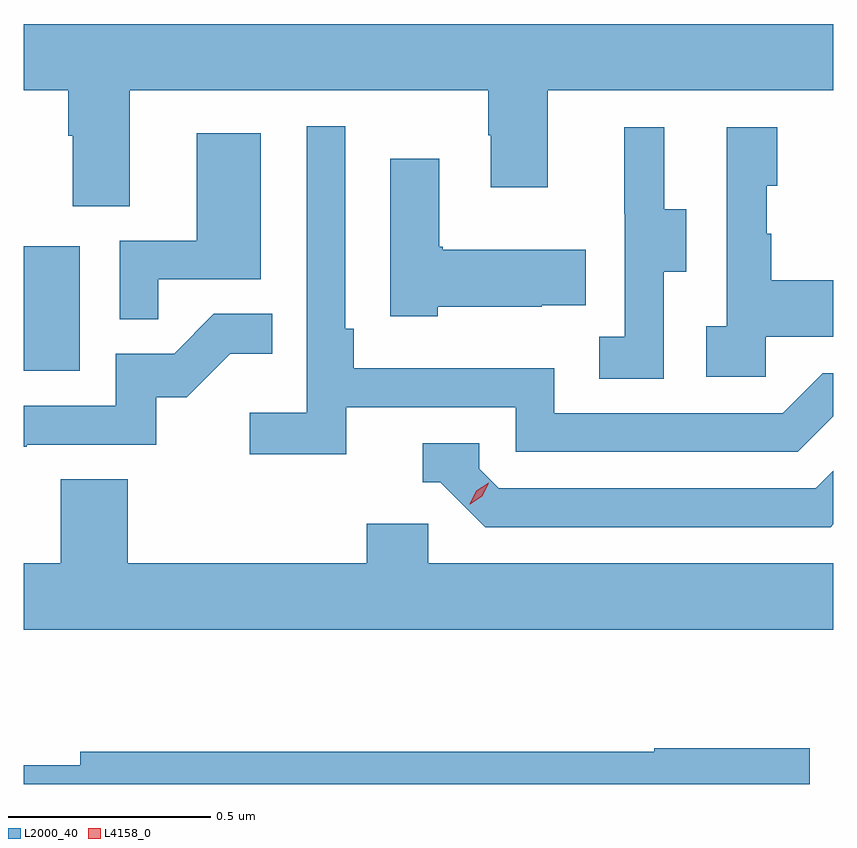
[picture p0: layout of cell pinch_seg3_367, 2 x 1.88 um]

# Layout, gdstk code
import gdstk
lib = gdstk.Library(unit=1e-6, precision=1e-09)
def R(c, l, rs):  # rectangles x0, y0, x1, y1
    for r in rs: c.add(gdstk.rectangle(r[:2], r[2:], *l))
def P(c, l, *ps):  # polygons
    for p in ps: c.add(gdstk.Polygon(p, *l))
L2000_40 = (2000, 40)
L4158_0 = (4158, 0)

pinch_seg3_367 = lib.new_cell('pinch_seg3_367')
R(pinch_seg3_367, L2000_40, [(970.983,706.884,971.122,707.191)])
P(pinch_seg3_367, L2000_40, [(971.245,707.576),(972.13,707.576),(972.13,707.465),(972.137,707.465),(972.137,707.337),(972.277,707.337),(972.277,707.576),(972.983,707.576),(972.983,707.74),(970.983,707.74),(970.983,707.576),(971.093,707.576),(971.093,707.464),(971.105,707.464),(971.105,707.29),(971.245,707.29)],
  [(971.78,706.794),(972.198,706.794),(972.198,706.683),(972.895,706.683),(972.983,706.771),(972.983,706.878),(972.957,706.878),(972.858,706.779),(972.294,706.779),(972.294,706.89),(971.798,706.89),(971.798,706.987),(971.778,706.987),(971.778,707.488),(971.682,707.488),(971.682,706.78),(971.541,706.78),(971.541,706.678),(971.78,706.678)],
  [(972.564,707.128),(972.619,707.128),(972.619,707.283),(972.565,707.283),(972.565,707.485),(972.467,707.485),(972.467,707.271),(972.468,707.271),(972.468,706.967),(972.405,706.967),(972.405,706.864),(972.564,706.864)],
  [(972.816,706.967),(972.983,706.967),(972.983,707.107),(972.829,707.107),(972.829,707.222),(972.819,707.222),(972.819,707.34),(972.844,707.34),(972.844,707.485),(972.72,707.485),(972.72,706.994),(972.669,706.994),(972.669,706.869),(972.816,706.869)],
  [(971.315,707.109),(971.569,707.109),(971.569,707.47),(971.411,707.47),(971.411,707.205),(971.22,707.205),(971.22,707.011),(971.315,707.011)],
  [(972.006,707.042),(972.263,707.042),(972.263,707.045),(972.371,707.045),(972.371,707.182),(972.018,707.182),(972.018,707.19),(972.01,707.19),(972.01,707.407),(971.888,707.407),(971.888,707.018),(972.006,707.018)],
  [(970.991,706.701),(971.31,706.701),(971.31,706.818),(971.386,706.818),(971.493,706.925),(971.597,706.925),(971.597,707.024),(971.453,707.024),(971.355,706.926),(971.211,706.926),(971.211,706.797),(970.983,706.797),(970.983,706.696),(970.991,706.696)],
  [(972.983,706.504),(972.983,706.637),(972.939,706.593),(972.156,706.593),(972.108,706.641),(972.108,706.704),(971.969,706.704),(971.969,706.608),(972.012,706.608),(972.123,706.497),(972.976,706.497)],
  [(972.983,706.408),(971.982,706.408),(971.982,706.506),(971.831,706.506),(971.831,706.408),(971.24,706.408),(971.24,706.616),(971.075,706.616),(971.075,706.408),(970.983,706.408),(970.983,706.244),(972.983,706.244)],
  [(972.925,705.951),(972.54,705.951),(972.54,705.943),(971.123,705.943),(971.123,705.909),(970.983,705.909),(970.983,705.863),(972.925,705.863)])
P(pinch_seg3_367, L4158_0, [(972.085,706.554),(972.085,706.554),(972.101,706.587),(972.132,706.607),(972.132,706.607),(972.132,706.607),(972.116,706.574),(972.086,706.554)])

lib.write_gds('pinch_seg3_367.gds')
